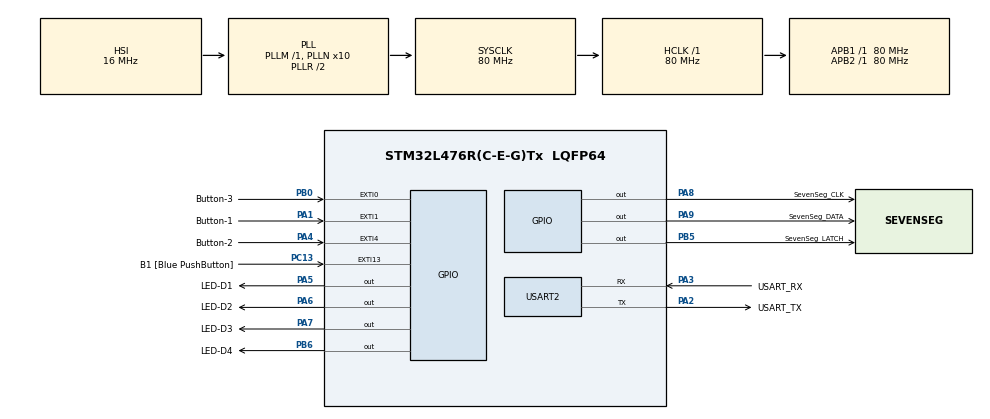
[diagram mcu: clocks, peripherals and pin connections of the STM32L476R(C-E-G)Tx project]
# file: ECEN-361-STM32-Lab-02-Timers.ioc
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Mcu.Family=STM32L4
Mcu.Name=STM32L476R(C-E-G)Tx
Mcu.Package=LQFP64
Mcu.UserConstants=reaction_timer,1
NVIC.EXTI0_IRQn=true\:0\:0\:false\:false\:true\:true\:true\:true
NVIC.EXTI1_IRQn=true\:0\:0\:false\:false\:true\:true\:true\:true
NVIC.EXTI4_IRQn=true\:0\:0\:false\:false\:true\:true\:true\:true
NVIC.PriorityGroup=NVIC_PRIORITYGROUP_4
NVIC.TIM1_TRG_COM_TIM17_IRQn=true\:0\:0\:false\:false\:true\:true\:true\:true
NVIC.TIM1_UP_TIM16_IRQn=true\:0\:0\:false\:false\:true\:true\:true\:true
NVIC.TIM3_IRQn=true\:0\:0\:false\:false\:true\:true\:true\:true
NVIC.TIM4_IRQn=true\:0\:0\:false\:false\:true\:true\:true\:true
NVIC.TIM7_IRQn=true\:0\:0\:false\:false\:true\:true\:true\:true
PA0.Signal=ADCx_IN5
PA1.GPIO_Label=Button-1
PA1.GPIO_ModeDefaultEXTI=GPIO_MODE_IT_FALLING
PA1.Signal=GPXTI1
PA13\ (JTMS-SWDIO).GPIO_Label=TMS
PA13\ (JTMS-SWDIO).Mode=Serial_Wire
PA13\ (JTMS-SWDIO).Signal=SYS_JTMS-SWDIO
PA14\ (JTCK-SWCLK).GPIO_Label=TCK
PA14\ (JTCK-SWCLK).Mode=Serial_Wire
PA14\ (JTCK-SWCLK).Signal=SYS_JTCK-SWCLK
PA2.GPIO_Label=USART_TX
PA2.GPIO_Mode=GPIO_MODE_AF_PP
PA2.GPIO_PuPd=GPIO_NOPULL
PA2.GPIO_Speed=GPIO_SPEED_FREQ_VERY_HIGH
PA2.Mode=Asynchronous
PA2.Signal=USART2_TX
PA3.GPIO_Label=USART_RX
PA3.GPIO_Mode=GPIO_MODE_AF_PP
PA3.GPIO_PuPd=GPIO_NOPULL
PA3.GPIO_Speed=GPIO_SPEED_FREQ_VERY_HIGH
PA3.Mode=Asynchronous
PA3.Signal=USART2_RX
PA4.GPIO_Label=Button-2
PA4.GPIO_ModeDefaultEXTI=GPIO_MODE_IT_FALLING
PA4.Signal=GPXTI4
PA5.GPIO_Label=LED-D1
PA5.Signal=GPIO_Output
PA6.GPIO_Label=LED-D2
PA6.Signal=GPIO_Output
PA7.GPIO_Label=LED-D3
PA7.Signal=GPIO_Output
PA8.GPIO_Label=SevenSeg_CLK
PA8.Signal=GPIO_Output
PA9.GPIO_Label=SevenSeg_DATA
PA9.Signal=GPIO_Output
PB0.GPIO_Label=Button-3
PB0.GPIO_ModeDefaultEXTI=GPIO_MODE_IT_FALLING
PB0.Signal=GPXTI0
PB3\ (JTDO-TRACESWO).Signal=SYS_JTDO-SWO
PB5.GPIO_Label=SevenSeg_LATCH
PB5.Signal=GPIO_Output
PB6.GPIO_Label=LED-D4
PB6.Signal=GPIO_Output
PC1.GPIO_Label=LM35_IN
PC1.Signal=ADCx_IN2
PC13.GPIO_Label=B1 [Blue PushButton]
PC13.GPIO_ModeDefaultEXTI=GPIO_MODE_IT_FALLING
PC13.GPIO_PuPd=GPIO_NOPULL
PC13.Signal=GPXTI13
PC14-OSC32_IN\ (PC14).Mode=LSE-External-Oscillator
PC14-OSC32_IN\ (PC14).Signal=RCC_OSC32_IN
PC15-OSC32_OUT\ (PC15).Mode=LSE-External-Oscillator
PC15-OSC32_OUT\ (PC15).Signal=RCC_OSC32_OUT
PH0-OSC_IN\ (PH0).Signal=RCC_OSC_IN
PH1-OSC_OUT\ (PH1).Signal=RCC_OSC_OUT
ProjectManager.HeapSize=0x200
ProjectManager.StackSize=0x400
ProjectManager.TargetToolchain=STM32CubeIDE
RCC.ADCFreq_Value=64000000
RCC.AHBFreq_Value=80000000
RCC.APB1Freq_Value=80000000
RCC.APB1TimFreq_Value=80000000
RCC.APB2Freq_Value=80000000
RCC.APB2TimFreq_Value=80000000
RCC.CortexFreq_Value=80000000
RCC.HCLKFreq_Value=80000000
RCC.HSE_VALUE=8000000
RCC.HSI_VALUE=16000000
RCC.MSI_VALUE=4000000
RCC.PLLN=10
RCC.PLLSourceVirtual=RCC_PLLSOURCE_HSI
RCC.PREFETCH_ENABLE=1
RCC.SYSCLKFreq_VALUE=80000000
RCC.SYSCLKSource=RCC_SYSCLKSOURCE_PLLCLK
RCC.USBFreq_Value=64000000
RCC.VCOOutputFreq_Value=160000000
SH.ADCx_IN2.0=ADC1_IN2
SH.ADCx_IN5.0=ADC2_IN5
TIM16.Period=10000 -1
TIM16.Prescaler=8000 -1
TIM17.Period=100
TIM17.Prescaler=800-1
TIM3.AutoReloadPreload=TIM_AUTORELOAD_PRELOAD_DISABLE
TIM3.Period=2500 - 1
TIM3.Prescaler=8000-1
TIM4.Period=5000 - 1
TIM4.Prescaler=8000 - 1
TIM6.Prescaler=8000 - 1
TIM7.Period=5000 - 1
TIM7.Prescaler=8000 - 1
USART2.VirtualMode-Asynchronous=VM_ASYNC
VP_TIM16_VS_ClockSourceINT.Mode=Enable_Timer
VP_TIM17_VS_ClockSourceINT.Mode=Enable_Timer
VP_TIM3_VS_ClockSourceINT.Mode=Internal
VP_TIM4_VS_ClockSourceINT.Mode=Internal
VP_TIM6_VS_ClockSourceINT.Mode=Enable_Timer
VP_TIM7_VS_ClockSourceINT.Mode=Enable_Timer
board=NUCLEO-L476RG

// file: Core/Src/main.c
/* USER CODE BEGIN Header */
/**
  ******************************************************************************
  * @file           : main.c
  * @brief          : Main program body
  ******************************************************************************
  * @attention
  *
  * Copyright (c) 2023 STMicroelectronics.
  * All rights reserved.
  *
  * This software is licensed under terms that can be found in the LICENSE file
  * in the root directory of this software component.
  * If no LICENSE file comes with this software, it is provided AS-IS.
  *
  ******************************************************************************
  */
/* USER CODE END Header */
#include "main.h"

/* USER CODE BEGIN Includes */
#include "MultiFunctionShield.h"
#include <stdio.h>
#include <stdlib.h>
#include <stdbool.h>

/* USER CODE END Includes */

TIM_HandleTypeDef htim3;
TIM_HandleTypeDef htim4;
TIM_HandleTypeDef htim6;
TIM_HandleTypeDef htim7;
TIM_HandleTypeDef htim16;
TIM_HandleTypeDef htim17;

UART_HandleTypeDef huart2;

/* USER CODE BEGIN PV */
bool got_start_button = false;
bool got_stop_button = false;
bool got_fastest_button = false;
bool display_on = false;
bool show_fastest_mode = false;

/* USER CODE END PV */

void SystemClock_Config(void);
static void MX_GPIO_Init(void);
static void MX_USART2_UART_Init(void);
static void MX_TIM17_Init(void);
static void MX_TIM16_Init(void);
static void MX_TIM3_Init(void);
static void MX_TIM4_Init(void);
static void MX_TIM6_Init(void);
static void MX_TIM7_Init(void);
/* USER CODE BEGIN PFP */
/* Private function prototypes -----------------------------------------------*/
#define PUTCHAR_PROTOTYPE int __io_putchar(int ch)

void HAL_GPIO_EXTI_Callback(uint16_t GPIO_Pin);
void show_a_random_number(void);
void got_start(void);
void got_stop(void);
void got_fastest(void);
int best_reaction_time_in_millisec = 99999;  //Start with something easy to beat

/* USER CODE END PFP */

int main(void)
{

  /* MCU Configuration--------------------------------------------------------*/

  /* Reset of all peripherals, Initializes the Flash interface and the Systick. */
  HAL_Init();

  /* Configure the system clock */
  SystemClock_Config();

  /* Initialize all configured peripherals */
  MX_GPIO_Init();
  MX_USART2_UART_Init();
  MX_TIM17_Init();
  MX_TIM16_Init();
  MX_TIM3_Init();
  MX_TIM4_Init();
  MX_TIM6_Init();
  MX_TIM7_Init();
  /* USER CODE BEGIN 2 */

  // Start timer
  HAL_TIM_Base_Start_IT(&htim17);  // LED SevenSeg cycle thru them   DONT CHANGE
  HAL_TIM_Base_Start_IT(&htim16);  // LED-D1 toggle according to Timer16   DONT CHANGE

  /************  STUDENT TO FILL IN HERE START *********************/

    // Add your Timer Start for LED-D2 HERE
    HAL_TIM_Base_Start_IT(&htim4);   // LED-D2 toggle
    HAL_TIM_Base_Start_IT(&htim3);   // LED-D3 toggle
    // Add your Timer Start for LED-D3 HERE

  /************  STUDENT TO FILL IN HERE END   *********************/

  MultiFunctionShield_Clear();
  /* USER CODE END 2 */

  /* Infinite loop */
  /* USER CODE BEGIN WHILE */
  Clear_LEDs();
  printf("\033\143");  // clear the terminal before printing
  printf("Hello Lab-2 -- Timers and Interrupts \n\r\n\r");
  srand((unsigned) uwTick );

  while (1)
  {
    /* USER CODE END WHILE */

    /* USER CODE BEGIN 3 */
	// show_a_random_number();
	  while (!got_start_button);
	  got_start();
	  got_start_button = false;
	  while (!got_stop_button);
	  got_stop();
	  got_stop_button = false;
	  MX_TIM6_Init();   // reset the reaction timer
	// Display_Waiting();

	}
  /* USER CODE END 3 */
}

void SystemClock_Config(void)
{
  RCC_OscInitTypeDef RCC_OscInitStruct = {0};
  RCC_ClkInitTypeDef RCC_ClkInitStruct = {0};

  /** Configure the main internal regulator output voltage
  */
  if (HAL_PWREx_ControlVoltageScaling(PWR_REGULATOR_VOLTAGE_SCALE1) != HAL_OK)
  {
    Error_Handler();
  }

  /** Initializes the RCC Oscillators according to the specified parameters
  * in the RCC_OscInitTypeDef structure.
  */
  RCC_OscInitStruct.OscillatorType = RCC_OSCILLATORTYPE_HSI;
  RCC_OscInitStruct.HSIState = RCC_HSI_ON;
  RCC_OscInitStruct.HSICalibrationValue = RCC_HSICALIBRATION_DEFAULT;
  RCC_OscInitStruct.PLL.PLLState = RCC_PLL_ON;
  RCC_OscInitStruct.PLL.PLLSource = RCC_PLLSOURCE_HSI;
  RCC_OscInitStruct.PLL.PLLM = 1;
  RCC_OscInitStruct.PLL.PLLN = 10;
  RCC_OscInitStruct.PLL.PLLP = RCC_PLLP_DIV7;
  RCC_OscInitStruct.PLL.PLLQ = RCC_PLLQ_DIV2;
  RCC_OscInitStruct.PLL.PLLR = RCC_PLLR_DIV2;
  if (HAL_RCC_OscConfig(&RCC_OscInitStruct) != HAL_OK)
  {
    Error_Handler();
  }

  /** Initializes the CPU, AHB and APB buses clocks
  */
  RCC_ClkInitStruct.ClockType = RCC_CLOCKTYPE_HCLK|RCC_CLOCKTYPE_SYSCLK
                              |RCC_CLOCKTYPE_PCLK1|RCC_CLOCKTYPE_PCLK2;
  RCC_ClkInitStruct.SYSCLKSource = RCC_SYSCLKSOURCE_PLLCLK;
  RCC_ClkInitStruct.AHBCLKDivider = RCC_SYSCLK_DIV1;
  RCC_ClkInitStruct.APB1CLKDivider = RCC_HCLK_DIV1;
  RCC_ClkInitStruct.APB2CLKDivider = RCC_HCLK_DIV1;

  if (HAL_RCC_ClockConfig(&RCC_ClkInitStruct, FLASH_LATENCY_4) != HAL_OK)
  {
    Error_Handler();
  }
}

static void MX_TIM3_Init(void)
{

  TIM_ClockConfigTypeDef sClockSourceConfig = {0};
  TIM_MasterConfigTypeDef sMasterConfig = {0};

  htim3.Instance = TIM3;
  htim3.Init.Prescaler = 8000-1;
  htim3.Init.CounterMode = TIM_COUNTERMODE_UP;
  htim3.Init.Period = 2500 - 1;
  htim3.Init.ClockDivision = TIM_CLOCKDIVISION_DIV1;
  htim3.Init.AutoReloadPreload = TIM_AUTORELOAD_PRELOAD_DISABLE;
  if (HAL_TIM_Base_Init(&htim3) != HAL_OK)
  {
    Error_Handler();
  }
  sClockSourceConfig.ClockSource = TIM_CLOCKSOURCE_INTERNAL;
  if (HAL_TIM_ConfigClockSource(&htim3, &sClockSourceConfig) != HAL_OK)
  {
    Error_Handler();
  }
  sMasterConfig.MasterOutputTrigger = TIM_TRGO_RESET;
  sMasterConfig.MasterSlaveMode = TIM_MASTERSLAVEMODE_DISABLE;
  if (HAL_TIMEx_MasterConfigSynchronization(&htim3, &sMasterConfig) != HAL_OK)
  {
    Error_Handler();
  }

}

static void MX_TIM4_Init(void)
{

  TIM_ClockConfigTypeDef sClockSourceConfig = {0};
  TIM_MasterConfigTypeDef sMasterConfig = {0};

  htim4.Instance = TIM4;
  htim4.Init.Prescaler = 8000 - 1;
  htim4.Init.CounterMode = TIM_COUNTERMODE_UP;
  htim4.Init.Period = 5000 - 1;
  htim4.Init.ClockDivision = TIM_CLOCKDIVISION_DIV1;
  htim4.Init.AutoReloadPreload = TIM_AUTORELOAD_PRELOAD_DISABLE;
  if (HAL_TIM_Base_Init(&htim4) != HAL_OK)
  {
    Error_Handler();
  }
  sClockSourceConfig.ClockSource = TIM_CLOCKSOURCE_INTERNAL;
  if (HAL_TIM_ConfigClockSource(&htim4, &sClockSourceConfig) != HAL_OK)
  {
    Error_Handler();
  }
  sMasterConfig.MasterOutputTrigger = TIM_TRGO_RESET;
  sMasterConfig.MasterSlaveMode = TIM_MASTERSLAVEMODE_DISABLE;
  if (HAL_TIMEx_MasterConfigSynchronization(&htim4, &sMasterConfig) != HAL_OK)
  {
    Error_Handler();
  }

}

static void MX_TIM6_Init(void)
{

  TIM_MasterConfigTypeDef sMasterConfig = {0};

  htim6.Instance = TIM6;
  htim6.Init.Prescaler = 8000 - 1;
  htim6.Init.CounterMode = TIM_COUNTERMODE_UP;
  htim6.Init.Period = 65535;
  htim6.Init.AutoReloadPreload = TIM_AUTORELOAD_PRELOAD_DISABLE;
  if (HAL_TIM_Base_Init(&htim6) != HAL_OK)
  {
    Error_Handler();
  }
  sMasterConfig.MasterOutputTrigger = TIM_TRGO_RESET;
  sMasterConfig.MasterSlaveMode = TIM_MASTERSLAVEMODE_DISABLE;
  if (HAL_TIMEx_MasterConfigSynchronization(&htim6, &sMasterConfig) != HAL_OK)
  {
    Error_Handler();
  }

}

static void MX_TIM7_Init(void)
{

  TIM_MasterConfigTypeDef sMasterConfig = {0};

  htim7.Instance = TIM7;
  htim7.Init.Prescaler = 8000 - 1;
  htim7.Init.CounterMode = TIM_COUNTERMODE_UP;
  htim7.Init.Period = 5000 - 1;
  htim7.Init.AutoReloadPreload = TIM_AUTORELOAD_PRELOAD_DISABLE;
  if (HAL_TIM_Base_Init(&htim7) != HAL_OK)
  {
    Error_Handler();
  }
  sMasterConfig.MasterOutputTrigger = TIM_TRGO_RESET;
  sMasterConfig.MasterSlaveMode = TIM_MASTERSLAVEMODE_DISABLE;
  if (HAL_TIMEx_MasterConfigSynchronization(&htim7, &sMasterConfig) != HAL_OK)
  {
    Error_Handler();
  }

}

static void MX_TIM16_Init(void)
{

  htim16.Instance = TIM16;
  htim16.Init.Prescaler = 8000 -1;
  htim16.Init.CounterMode = TIM_COUNTERMODE_UP;
  htim16.Init.Period = 10000 -1;
  htim16.Init.ClockDivision = TIM_CLOCKDIVISION_DIV1;
  htim16.Init.RepetitionCounter = 0;
  htim16.Init.AutoReloadPreload = TIM_AUTORELOAD_PRELOAD_DISABLE;
  if (HAL_TIM_Base_Init(&htim16) != HAL_OK)
  {
    Error_Handler();
  }

}

static void MX_TIM17_Init(void)
{

  htim17.Instance = TIM17;
  htim17.Init.Prescaler = 800-1;
  htim17.Init.CounterMode = TIM_COUNTERMODE_UP;
  htim17.Init.Period = 100;
  htim17.Init.ClockDivision = TIM_CLOCKDIVISION_DIV1;
  htim17.Init.RepetitionCounter = 0;
  htim17.Init.AutoReloadPreload = TIM_AUTORELOAD_PRELOAD_DISABLE;
  if (HAL_TIM_Base_Init(&htim17) != HAL_OK)
  {
    Error_Handler();
  }

}

static void MX_USART2_UART_Init(void)
{

  huart2.Instance = USART2;
  huart2.Init.BaudRate = 115200;
  huart2.Init.WordLength = UART_WORDLENGTH_8B;
  huart2.Init.StopBits = UART_STOPBITS_1;
  huart2.Init.Parity = UART_PARITY_NONE;
  huart2.Init.Mode = UART_MODE_TX_RX;
  huart2.Init.HwFlowCtl = UART_HWCONTROL_NONE;
  huart2.Init.OverSampling = UART_OVERSAMPLING_16;
  huart2.Init.OneBitSampling = UART_ONE_BIT_SAMPLE_DISABLE;
  huart2.AdvancedInit.AdvFeatureInit = UART_ADVFEATURE_NO_INIT;
  if (HAL_UART_Init(&huart2) != HAL_OK)
  {
    Error_Handler();
  }

}

static void MX_GPIO_Init(void)
{
  GPIO_InitTypeDef GPIO_InitStruct = {0};

  /* GPIO Ports Clock Enable */
  __HAL_RCC_GPIOC_CLK_ENABLE();
  __HAL_RCC_GPIOH_CLK_ENABLE();
  __HAL_RCC_GPIOA_CLK_ENABLE();
  __HAL_RCC_GPIOB_CLK_ENABLE();

  /*Configure GPIO pin Output Level */
  HAL_GPIO_WritePin(GPIOA, LED_D1_Pin|LED_D2_Pin|LED_D3_Pin|SevenSeg_CLK_Pin
                          |SevenSeg_DATA_Pin, GPIO_PIN_RESET);

  /*Configure GPIO pin Output Level */
  HAL_GPIO_WritePin(GPIOB, SevenSeg_LATCH_Pin|LED_D4_Pin, GPIO_PIN_RESET);

  /*Configure GPIO pin : B1_Pin */
  GPIO_InitStruct.Pin = B1_Pin;
  GPIO_InitStruct.Mode = GPIO_MODE_IT_FALLING;
  GPIO_InitStruct.Pull = GPIO_NOPULL;
  HAL_GPIO_Init(B1_GPIO_Port, &GPIO_InitStruct);

  /*Configure GPIO pin : LM35_IN_Pin */
  GPIO_InitStruct.Pin = LM35_IN_Pin;
  GPIO_InitStruct.Mode = GPIO_MODE_ANALOG_ADC_CONTROL;
  GPIO_InitStruct.Pull = GPIO_NOPULL;
  HAL_GPIO_Init(LM35_IN_GPIO_Port, &GPIO_InitStruct);

  /*Configure GPIO pin : PA0 */
  GPIO_InitStruct.Pin = GPIO_PIN_0;
  GPIO_InitStruct.Mode = GPIO_MODE_ANALOG_ADC_CONTROL;
  GPIO_InitStruct.Pull = GPIO_NOPULL;
  HAL_GPIO_Init(GPIOA, &GPIO_InitStruct);

  /*Configure GPIO pins : Button_1_Pin Button_2_Pin */
  GPIO_InitStruct.Pin = Button_1_Pin|Button_2_Pin;
  GPIO_InitStruct.Mode = GPIO_MODE_IT_FALLING;
  GPIO_InitStruct.Pull = GPIO_NOPULL;
  HAL_GPIO_Init(GPIOA, &GPIO_InitStruct);

  /*Configure GPIO pins : LED_D1_Pin LED_D2_Pin LED_D3_Pin SevenSeg_CLK_Pin
                           SevenSeg_DATA_Pin */
  GPIO_InitStruct.Pin = LED_D1_Pin|LED_D2_Pin|LED_D3_Pin|SevenSeg_CLK_Pin
                          |SevenSeg_DATA_Pin;
  GPIO_InitStruct.Mode = GPIO_MODE_OUTPUT_PP;
  GPIO_InitStruct.Pull = GPIO_NOPULL;
  GPIO_InitStruct.Speed = GPIO_SPEED_FREQ_LOW;
  HAL_GPIO_Init(GPIOA, &GPIO_InitStruct);

  /*Configure GPIO pin : Button_3_Pin */
  GPIO_InitStruct.Pin = Button_3_Pin;
  GPIO_InitStruct.Mode = GPIO_MODE_IT_FALLING;
  GPIO_InitStruct.Pull = GPIO_NOPULL;
  HAL_GPIO_Init(Button_3_GPIO_Port, &GPIO_InitStruct);

  /*Configure GPIO pins : SevenSeg_LATCH_Pin LED_D4_Pin */
  GPIO_InitStruct.Pin = SevenSeg_LATCH_Pin|LED_D4_Pin;
  GPIO_InitStruct.Mode = GPIO_MODE_OUTPUT_PP;
  GPIO_InitStruct.Pull = GPIO_NOPULL;
  GPIO_InitStruct.Speed = GPIO_SPEED_FREQ_LOW;
  HAL_GPIO_Init(GPIOB, &GPIO_InitStruct);

  /* EXTI interrupt init*/
  HAL_NVIC_SetPriority(EXTI0_IRQn, 0, 0);
  HAL_NVIC_EnableIRQ(EXTI0_IRQn);

  HAL_NVIC_SetPriority(EXTI1_IRQn, 0, 0);
  HAL_NVIC_EnableIRQ(EXTI1_IRQn);

  HAL_NVIC_SetPriority(EXTI4_IRQn, 0, 0);
  HAL_NVIC_EnableIRQ(EXTI4_IRQn);

}

/* USER CODE BEGIN 4 */

/**
  * @brief  Retargets the C library printf function to the USART.
  * @param  None
  * @retval None
  */
PUTCHAR_PROTOTYPE
{
  /* Place your implementation of fputc here */
  /* e.g. write a character to the USART1 and Loop until the end of transmission */
  HAL_UART_Transmit(&huart2, (uint8_t *)&ch, 1, 0xFFFF);

  return ch;
}

void HAL_GPIO_EXTI_Callback(uint16_t GPIO_Pin)
	{
	// All three buttons generate GPIO interrupts
	// Don't spend much time in the ISR because there are other interrupts happening
	switch(GPIO_Pin)
	{
	case Button_1_Pin:
		got_start_button = true;
		break;
	case Button_2_Pin:
		got_stop_button = true;
		break;
	case Button_3_Pin:
		show_fastest_mode = !show_fastest_mode;  // Toggle blinking mode
		if (show_fastest_mode)
		{
			HAL_TIM_Base_Start_IT(&htim7);  // Start blinking timer
		}
		else
		{
			HAL_TIM_Base_Stop_IT(&htim7);   // Stop blinking timer
			MultiFunctionShield_Clear();   // Clear display when stopping
		}
		break;
	default:
      __NOP();
	}
}

// Callback: timer has rolled over
void HAL_TIM_PeriodElapsedCallback(TIM_HandleTypeDef *htim)
{
// Check which version of the timer triggered this callback and toggle the right LED
  if (htim == &htim16 )
  {
	HAL_GPIO_TogglePin(LED_D1_GPIO_Port, LED_D1_Pin);
  }
/** This timer has to be here to cycle thru the 7-Seg LED displays **/
  if (htim == &htim17 )
  {
	  MultiFunctionShield__ISRFunc();
  }

  /**************** STUDENT TO FILL IN START HERE ********************/
  if (htim == &htim3 )
    {
  	HAL_GPIO_TogglePin(LED_D2_GPIO_Port, LED_D2_Pin);
    }
  if (htim == &htim4 )
      {
    	HAL_GPIO_TogglePin(LED_D3_GPIO_Port, LED_D3_Pin);
      }
  if (htim == &htim7 )
        {
	  if (show_fastest_mode)
		  {
			  if (display_on)
				  MultiFunctionShield_Clear();
			  else
				  MultiFunctionShield_Display(best_reaction_time_in_millisec);

			  display_on = !display_on;  // Toggle state
		  }
        }
  /**************** STUDENT TO FILL IN END HERE ********************/

}

/* USER CODE END 4 */

void Error_Handler(void)
{
  __disable_irq();
  while (1)
  {
  }
}
